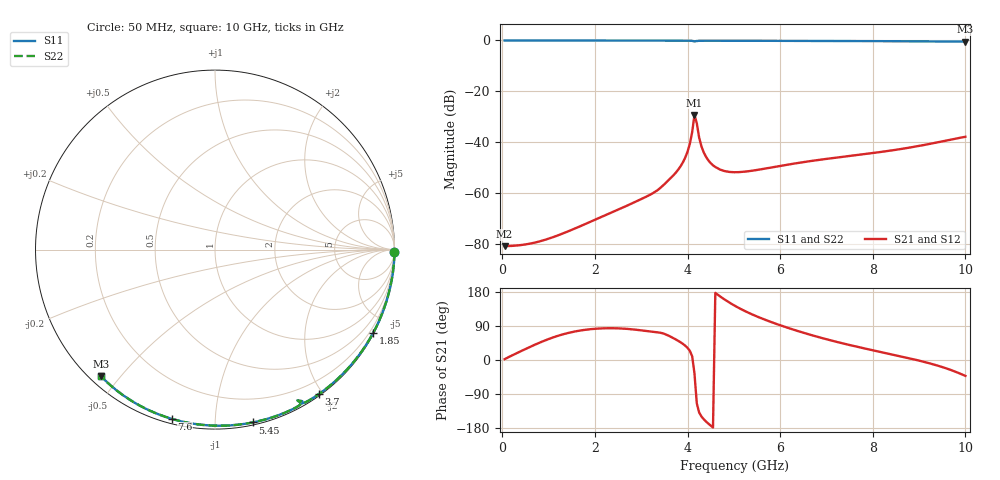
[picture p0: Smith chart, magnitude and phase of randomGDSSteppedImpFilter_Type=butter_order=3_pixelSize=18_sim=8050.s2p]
! freq	dB(S11)	phase(S11)	dB(S12)	phase(S12)
!  dB(S21)	phase(S21)	dB(S22)	phase(S22)
!S-par simulation data
#  GHz  S  DB  R 50
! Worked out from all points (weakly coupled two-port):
!   200 points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, 50 MHz to 10 GHz, reference 50 ohm
!   highest |S21| = -29.28 dB at 4.15 GHz (marker M1); lowest = -81.0 dB at 50 MHz (marker M2)
!   lowest |S11| = -0.4 dB at 10 GHz (marker M3), VSWR 38.66, Z = 1.55 - j22.3 ohm
!   |S11| at or under -10 dB: nowhere
!   |S22| runs from -0.4 to 0.0 dB; largest |S21 - S12| = 0
!   S11 on the Smith chart (normalised r, x): 50 MHz: open; 1.85 GHz: 0.04, -4.04; 3.7 GHz: 0.02, -1.95; 5.45 GHz: 0.02, -1.24; 7.6 GHz: 0.02, -0.78; 10 GHz: 0.03, -0.45
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0.05  -0.00 -0.8  -80.96 2.1  -80.96 2.1  -0.00 -0.8
0.7  -0.01 -10.6  -79.56 40.2  -79.56 40.2  -0.01 -10.6
1.75  -0.03 -26.3  -72.59 79.0  -72.59 79.0  -0.03 -26.3
1.85  -0.04 -27.8  -71.80 80.6  -71.80 80.6  -0.04 -27.8
3.4  -0.07 -50.2  -58.23 72.2  -58.23 72.2  -0.07 -50.2
3.7  -0.07 -54.4  -52.99 57.4  -52.99 57.4  -0.07 -54.4
3.9  -0.08 -57.3  -47.97 42.6  -47.97 42.6  -0.08 -57.3
4  -0.09 -58.8  -43.79 32.0  -43.79 32.0  -0.09 -58.8
4.05  -0.10 -59.6  -40.69 24.1  -40.69 24.1  -0.10 -59.6
4.1  -0.14 -60.7  -36.08 9.9  -36.08 9.9  -0.14 -60.7
4.15  -0.37 -61.3  -29.28 -35.4  -29.28 -35.4  -0.37 -61.3
4.2  -0.22 -60.0  -32.57 -114.5  -32.57 -114.5  -0.22 -60.0
4.25  -0.13 -61.1  -38.18 -138.2  -38.18 -138.2  -0.13 -61.1
4.3  -0.11 -62.0  -41.66 -148.9  -41.66 -148.9  -0.11 -62.0
4.45  -0.10 -64.3  -47.20 -168.0  -47.20 -168.0  -0.10 -64.3
4.7  -0.10 -67.7  -50.80 168.1  -50.80 168.1  -0.10 -67.7
5.05  -0.11 -72.4  -51.84 141.1  -51.84 141.1  -0.11 -72.4
5.45  -0.13 -77.6  -51.12 117.4  -51.12 117.4  -0.13 -77.6
6.7  -0.18 -93.4  -47.35 64.9  -47.35 64.9  -0.18 -93.4
7.6  -0.24 -104.3  -45.24 36.6  -45.24 36.6  -0.24 -104.3
8.35  -0.29 -113.2  -43.44 16.4  -43.44 16.4  -0.29 -113.2
10  -0.45 -131.9  -37.91 -42.0  -37.91 -42.0  -0.45 -131.9
